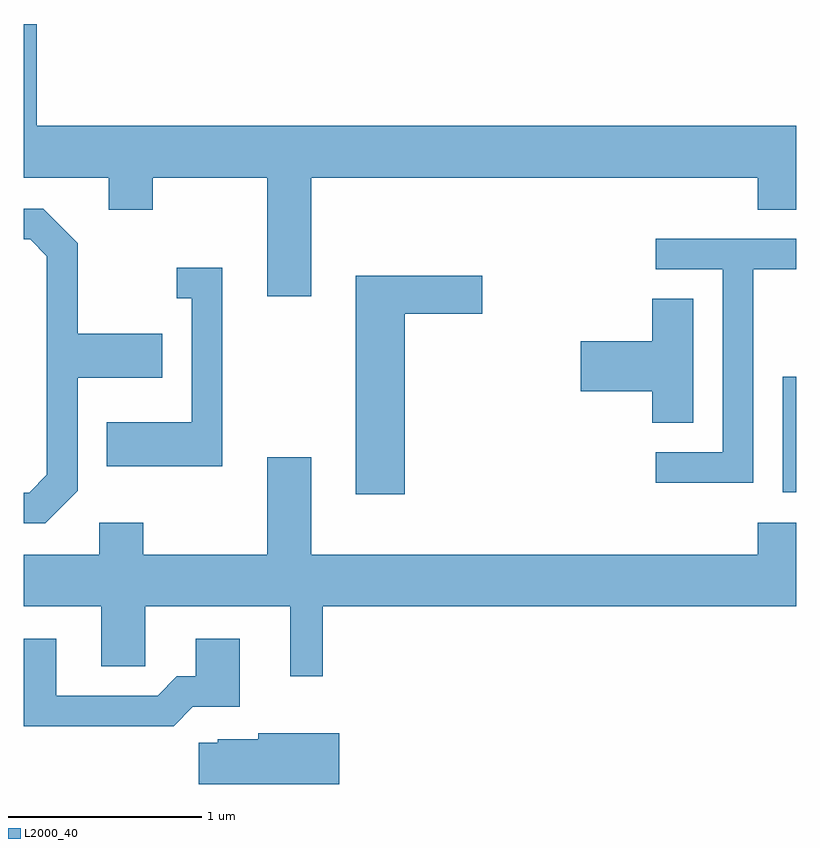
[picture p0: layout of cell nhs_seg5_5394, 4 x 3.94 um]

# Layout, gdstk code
import gdstk
lib = gdstk.Library(unit=1e-6, precision=1e-09)
def R(c, l, rs):  # rectangles x0, y0, x1, y1
    for r in rs: c.add(gdstk.rectangle(r[:2], r[2:], *l))
def P(c, l, *ps):  # polygons
    for p in ps: c.add(gdstk.Polygon(p, *l))
L2000_40 = (2000, 40)

nhs_seg5_5394 = lib.new_cell('nhs_seg5_5394')
R(nhs_seg5_5394, L2000_40, [(349.541,1419.646,349.611,1420.244)])
P(nhs_seg5_5394, L2000_40, [(347.099,1421.276),(349.411,1421.276),(349.411,1421.111),(349.611,1421.111),(349.611,1421.544),(345.679,1421.544),(345.679,1422.072),(345.611,1422.072),(345.611,1421.276),(346.051,1421.276),(346.051,1421.111),(346.279,1421.111),(346.279,1421.276),(346.871,1421.276),(346.871,1420.661),(347.099,1420.661)],
  [(345.889,1419.654),(345.889,1420.241),(346.329,1420.241),(346.329,1420.469),(345.889,1420.469),(345.889,1420.937),(345.712,1421.114),(345.611,1421.114),(345.611,1420.956),(345.644,1420.956),(345.731,1420.869),(345.731,1419.737),(345.639,1419.644),(345.611,1419.644),(345.611,1419.486),(345.722,1419.486)],
  [(349.389,1420.801),(349.611,1420.801),(349.611,1420.959),(348.883,1420.959),(348.883,1420.801),(349.231,1420.801),(349.231,1419.854),(348.883,1419.854),(348.883,1419.696),(349.389,1419.696)],
  [(346.639,1420.809),(346.403,1420.809),(346.403,1420.651),(346.481,1420.651),(346.481,1420.009),(346.041,1420.009),(346.041,1419.781),(346.639,1419.781)],
  [(347.584,1420.571),(347.984,1420.571),(347.984,1420.769),(347.331,1420.769),(347.331,1419.636),(347.584,1419.636)],
  [(349.079,1420.649),(348.866,1420.649),(348.866,1420.429),(348.496,1420.429),(348.496,1420.171),(348.866,1420.171),(348.866,1420.006),(349.079,1420.006)],
  [(347.159,1419.056),(349.611,1419.056),(349.611,1419.489),(349.411,1419.489),(349.411,1419.324),(347.099,1419.324),(347.099,1419.829),(346.871,1419.829),(346.871,1419.324),(346.229,1419.324),(346.229,1419.489),(346.001,1419.489),(346.001,1419.324),(345.611,1419.324),(345.611,1419.056),(346.011,1419.056),(346.011,1418.746),(346.239,1418.746),(346.239,1419.056),(346.991,1419.056),(346.991,1418.693),(347.159,1418.693)],
  [(346.487,1418.536),(346.729,1418.536),(346.729,1418.889),(346.501,1418.889),(346.501,1418.694),(346.404,1418.694),(346.304,1418.594),(345.779,1418.594),(345.779,1418.889),(345.611,1418.889),(345.611,1418.436),(346.387,1418.436)],
  [(347.244,1418.399),(346.826,1418.399),(346.826,1418.369),(346.616,1418.369),(346.616,1418.349),(346.516,1418.349),(346.516,1418.136),(347.244,1418.136)])

lib.write_gds('nhs_seg5_5394.gds')
